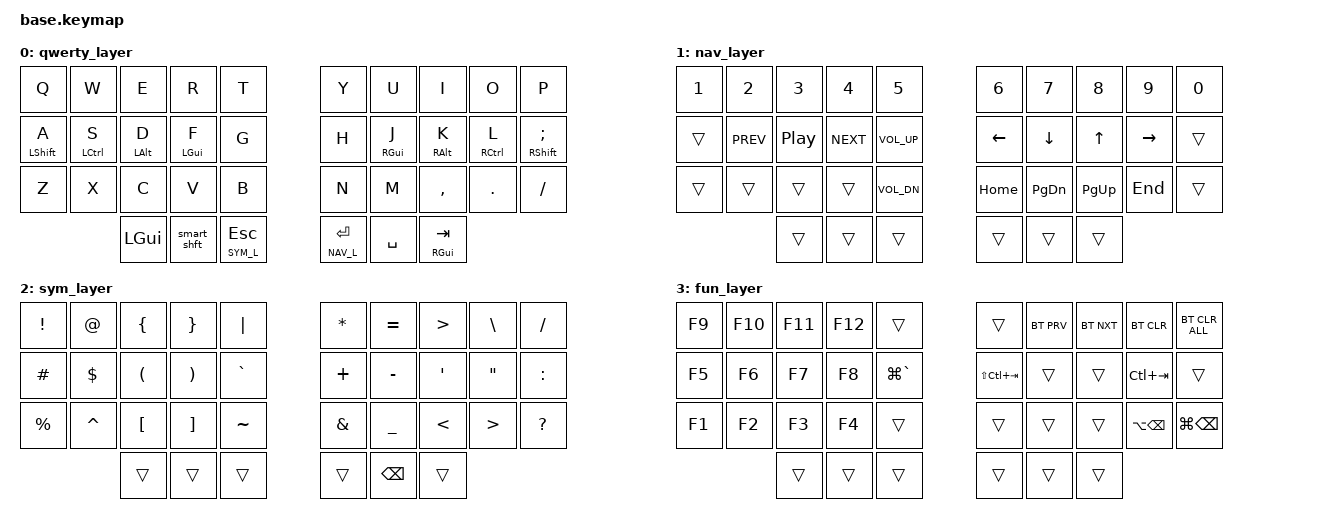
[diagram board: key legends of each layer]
/*
 * Copyright (c) 2021 The ZMK Contributors
 *
 * SPDX-License-Identifier: MIT
 */

#include <behaviors.dtsi>
#include <dt-bindings/zmk/bt.h>
#include <dt-bindings/zmk/keys.h>

// Layer names
#define QWERTY_L 0
#define NAV_L 1
#define SYM_L 2
#define FUN_L 3

/**
Home row mods will be CCAG, Shift Control Alt Gui on the left hand side
                      GACS, inverted on the right
GUI in center, then Alt, Control under the ring finger, and Shift under the pinky
 */

// For Home row mods on a 36 key board
#include "zmk-helpers/helper.h"
#include "zmk-helpers/key-labels/36.h"                                     // key-position labels
#define KEYS_L LT0 LT1 LT2 LT3 LT4 LM0 LM1 LM2 LM3 LM4 LB0 LB1 LB2 LB3 LB4  // left-hand keys
#define KEYS_R RT0 RT1 RT2 RT3 RT4 RM0 RM1 RM2 RM3 RM4 RB0 RB1 RB2 RB3 RB4  // right-hand keys
#define THUMBS LH2 LH1 LH0 RH0 RH1 RH2                                      // thumb keys

/* left-hand HRMs, e.g. `&hml LSHIFT F` */
ZMK_HOLD_TAP(hml,
    flavor = "balanced";
    tapping-term-ms = <280>;
    quick-tap-ms = <175>;                // repeat on tap-into-hold
    require-prior-idle-ms = <150>;
    bindings = <&kp>, <&kp>;
    hold-trigger-key-positions = <KEYS_R THUMBS>;
    hold-trigger-on-release;             // delay positional check until key-release
)

/* right-hand HRMs, e.g. `&hmr LSHIFT J` */
ZMK_HOLD_TAP(hmr,
    flavor = "balanced";
    tapping-term-ms = <280>;
    quick-tap-ms = <175>;                // repeat on tap-into-hold
    require-prior-idle-ms = <150>;
    bindings = <&kp>, <&kp>;
    hold-trigger-key-positions = <KEYS_L THUMBS>;
    hold-trigger-on-release;             // delay positional check until key-release
)

 /* Caps-word, num-word and smart-mouse */

&caps_word {
    continue-list = <UNDERSCORE MINUS BACKSPACE DELETE>;
};

/ {
    
    behaviors {
        lt: layer_tap {
            compatible = "zmk,behavior-hold-tap";
            #binding-cells = <2>;
            flavor = "hold-preferred";
            tapping-term-ms = <200>;
            bindings = <&mo>, <&kp>;
       };

        smart_shft: tap_dance_mod_tap {
            compatible = "zmk,behavior-tap-dance";
            #binding-cells = <0>;
            tapping-term-ms = <200>;
            bindings = <&kp LSHIFT>, <&caps_word>;
        };
    };

    combos {
        compatible = "zmk,combos";

        // Helper for defining combos with simpler syntax
        // @example
        // ```
        // COMBO(lctrl, &kp LCTRL, 21 22, 50)
        // ```
        #define COMBO(NAME, BINDINGS, KEYPOS, TIMEOUT) \
            combo_##NAME { \
                timeout-ms = <TIMEOUT>; \
                bindings = <BINDINGS>; \
                key-positions = <KEYPOS>; \
            };

        /*                KEY POSITIONS

          ╭────────────────────╮ ╭────────────────────╮
          │  0   1   2   3   4 │ │  5   6   7   8   9 │
          │ 10  11  12  13  14 │ │ 15  16  17  18  19 │
          │ 20  21  22  23  24 │ │ 25  26  27  28  29 │
          ╰───────╮ 30  31  32 │ │ 33  34  35 ╭───────╯
                  ╰────────────╯ ╰────────────╯        */

        COMBO(lctrl, &kp LCTRL, 21 22, 50)
        COMBO(lalt,  &kp LALT,  22 23, 50)
        COMBO(ralt,  &kp RALT,  26 27, 50)
        COMBO(rctrl, &kp LCTRL, 27 28, 50)
    };

	keymap {
		compatible = "zmk,keymap";

        // QWERTY
		qwerty_layer {
			bindings = <
                   &kp Q        &kp W         &kp E         &kp R              &kp T              &kp Y               &kp U            &kp I                 &kp O         &kp P
                   &hml LSHFT A &hml LCTRL S  &hml LALT D   &hml LGUI F        &kp G              &kp H               &hmr RGUI J      &hmr RALT K           &hmr RCTL L   &hmr RSHFT SEMI
                   &kp Z        &kp X         &kp C         &kp V              &kp B              &kp N               &kp M            &kp COMMA             &kp DOT       &kp SLASH
				 /*&            &*/           &kp LGUI      &smart_shft       &lt SYM_L ESC      &lt NAV_L ENTER     &kp SPACE        &mt RGUI TAB /* &             &*/
			>;
		};

        // NAV
		nav_layer {
			bindings = <
                   &kp N1       &kp N2        &kp N3        &kp N4             &kp N5             &kp N6              &kp N7           &kp N8                &kp N9        &kp N0
                   &trans       &kp C_PREV    &kp C_PP      &kp C_NEXT         &kp C_VOL_UP       &kp LEFT            &kp DOWN         &kp UP                &kp RIGHT     &trans
                   &trans       &trans        &trans        &trans             &kp C_VOL_DN       &kp HOME            &kp PG_DN        &kp PG_UP             &kp END       &trans
				 /*&            &*/           &trans        &trans             &trans             &trans              &trans           &trans    /* &             &*/
			>;
		};

        // SYM
		sym_layer {
			bindings = <
                   &kp EXCL     &kp AT        &kp LBRC      &kp RBRC           &kp PIPE           &kp STAR            &kp EQUAL        &kp GT                &kp BSLH      &kp SLASH
                   &kp HASH     &kp DOLLAR    &kp LPAR      &kp RPAR           &kp GRAVE          &kp PLUS            &kp MINUS        &kp APOS              &kp DQT       &kp COLON
                   &kp PRCNT    &kp CARET     &kp LBKT      &kp RBKT           &kp TILDE          &kp AMPS            &kp UNDER        &kp LT                &kp GT        &kp QMARK
				 /*&            &*/           &trans        &trans             &trans             &trans              &kp BSPC         &trans    /* &             &*/
			>;
		};


        // FUN
		fun_layer {
			bindings = <
                   &kp F9       &kp F10       &kp F11       &kp F12            &trans             &trans              &bt BT_PRV        &bt BT_NXT            &bt BT_CLR       &bt BT_CLR_ALL  
                   &kp F5       &kp F6        &kp F7        &kp F8             &kp LG(GRAVE)      &kp LS(LC(TAB))     &trans           &trans                &kp LC(TAB)   &trans 
                   &kp F1       &kp F2        &kp F3        &kp F4             &trans             &trans              &trans           &trans                &kp LA(BSPC)  &kp LG(BSPC)
				 /*&            &*/           &trans        &trans             &trans             &trans              &trans           &trans    /* &             &*/
			>;
		};
	};

    conditional_layers {
        compatible = "zmk,conditional-layers";
        tri_layer {
            if-layers = <1 2>;
            then-layer = <3>;
        };
    };
};
